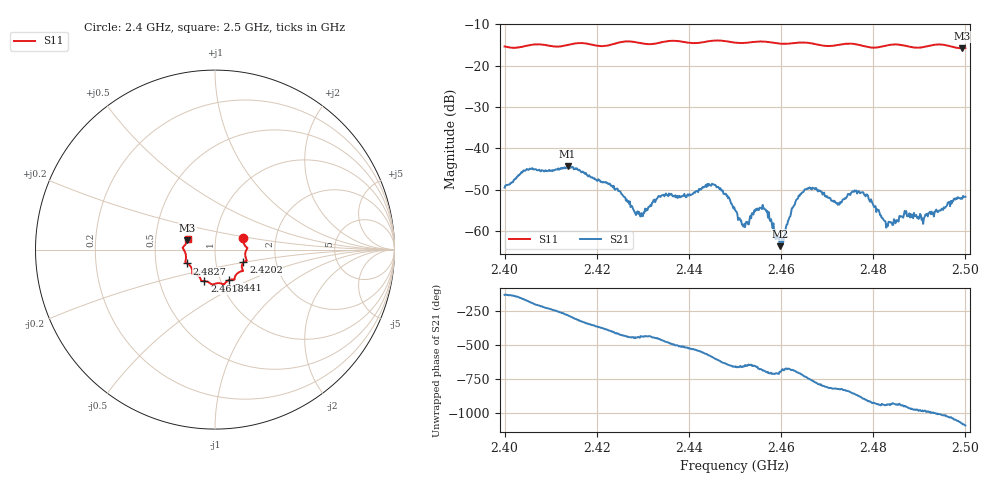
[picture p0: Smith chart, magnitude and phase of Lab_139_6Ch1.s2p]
# Hz S RI R 50
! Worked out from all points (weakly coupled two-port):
!   601 points, 2.4 GHz to 2.5 GHz, reference 50 ohm
!   highest |S21| = -44.32 dB at 2.4137 GHz (marker M1); lowest = -63.6 dB at 2.4598 GHz (marker M2)
!   lowest |S11| = -15.8 dB at 2.4993 GHz (marker M3), VSWR 1.39, Z = 36.5 + j3.82 ohm
!   |S11| at or under -10 dB: start of sweep to end of sweep
!   S12 and S22 are empty: the file has one direction only
!   S11 on the Smith chart (normalised r, x): 2.4 GHz: 1.36, +0.18; 2.4202 GHz: 1.36, -0.20; 2.441 GHz: 1.10, -0.39; 2.4618 GHz: 0.84, -0.30; 2.4827 GHz: 0.72, -0.12; 2.5 GHz: 0.73, +0.09
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2.4e9  0.1584 0.0629  -0.00207 -0.00265  0 0  0 0
2.4045e9  0.1717 0.0164  -0.00523 -0.00124  0 0  0 0
2.413667e9  0.1714 -0.0464  0.000887 0.00602  0 0  0 0
2.416667e9  0.1771 -0.0611  0.00421 0.00294  0 0  0 0
2.420167e9  0.1586 -0.0711  0.00403 -0.000277  0 0  0 0
2.4295e9  0.1415 -0.1227  0.000436 -0.00144  0 0  0 0
2.433333e9  0.1116 -0.1507  -8.42e-05 -0.00262  0 0  0 0
2.441e9  0.0787 -0.1697  -0.00286 -0.000493  0 0  0 0
2.4455e9  0.051 -0.1942  -0.00196 0.00306  0 0  0 0
2.45e9  0.0286 -0.1875  0.000956 0.00154  0 0  0 0
2.452e9  0.00816 -0.1879  0.000569 0.00108  0 0  0 0
2.4565e9  -0.0181 -0.1942  0.00164 0.000822  0 0  0 0
2.459833e9  -0.0395 -0.1801  0.00061 0.000247  0 0  0 0
2.461833e9  -0.0589 -0.1755  0.00107 0.00101  0 0  0 0
2.463833e9  -0.0728 -0.1753  0.00263 0.00058  0 0  0 0
2.466667e9  -0.0788 -0.1683  0.00239 -0.00211  0 0  0 0
2.472333e9  -0.1158 -0.1349  -0.000497 -0.00202  0 0  0 0
2.477333e9  -0.1268 -0.1217  -0.00282 -0.000759  0 0  0 0
2.482667e9  -0.156 -0.0773  -0.000932 0.000913  0 0  0 0
2.483333e9  -0.1604 -0.0751  -0.00101 0.000821  0 0  0 0
2.499333e9  -0.154 0.051  0.00246 -0.000108  0 0  0 0
2.5e9  -0.1522 0.0606  0.00251 -0.000692  0 0  0 0
